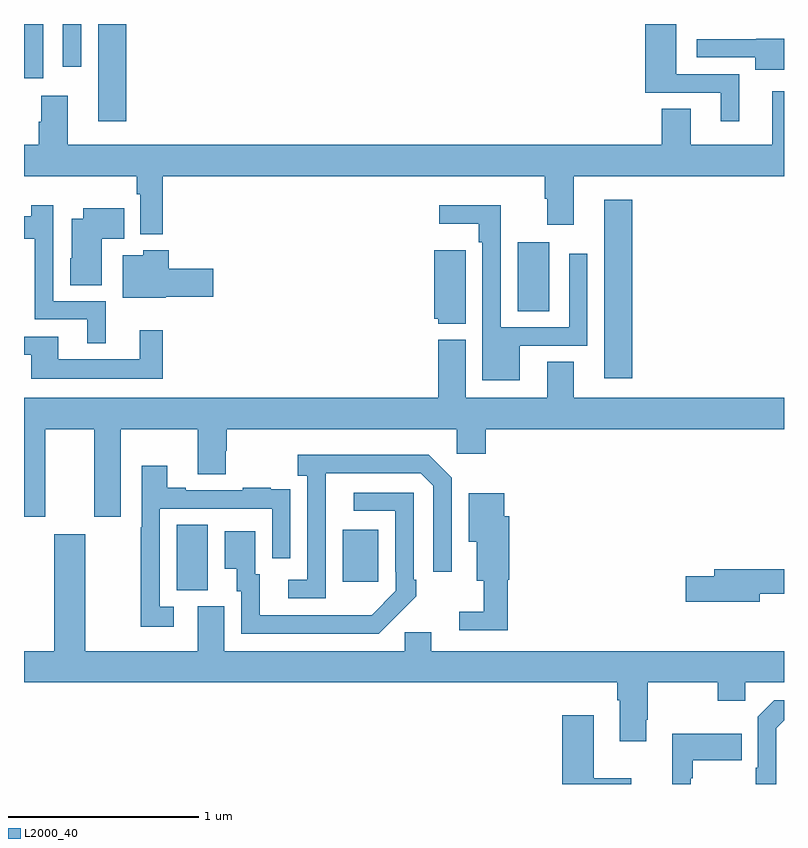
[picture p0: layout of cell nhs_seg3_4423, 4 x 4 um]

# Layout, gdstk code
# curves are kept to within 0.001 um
import gdstk
lib = gdstk.Library(unit=1e-6, precision=1e-09)
def R(c, l, rs):  # rectangles x0, y0, x1, y1
    for r in rs: c.add(gdstk.rectangle(r[:2], r[2:], *l))
def P(c, l, *ps):  # polygons
    for p in ps: c.add(gdstk.Polygon(p, *l))
L2000_40 = (2000, 40)

nhs_seg3_4423 = lib.new_cell('nhs_seg3_4423')
R(nhs_seg3_4423, L2000_40, [(347.804,681.421,347.968,681.764), (348.677,681.465,348.865,681.739), (350.054,682.536,350.201,683.476), (349.598,682.888,349.765,683.251), (347.39,683.889,347.537,684.4), (347,684.114,347.101,684.4), (347.205,684.174,347.301,684.4)])
P(nhs_seg3_4423, L2000_40, [(350.764,684.135),(350.434,684.135),(350.434,684.4),(350.27,684.4),(350.27,684.039),(350.666,684.039),(350.666,683.889),(350.764,683.889)],
  [(351,684.322),(350.853,684.322),(350.853,684.321),(350.541,684.321),(350.541,684.225),(350.849,684.225),(350.849,684.158),(351,684.158)],
  [(347.729,683.6),(349.742,683.6),(349.742,683.48),(349.754,683.48),(349.754,683.343),(349.894,683.343),(349.894,683.6),(351,683.6),(351,684.046),(350.939,684.046),(350.939,683.764),(350.509,683.764),(350.509,683.954),(350.357,683.954),(350.357,683.764),(347.23,683.764),(347.23,684.022),(347.09,684.022),(347.09,683.885),(347.078,683.885),(347.078,683.764),(347,683.764),(347,683.6),(347.593,683.6),(347.593,683.504),(347.613,683.504),(347.613,683.294),(347.729,683.294)],
  [(349.609,682.707),(349.965,682.707),(349.965,683.191),(349.869,683.191),(349.869,682.803),(349.509,682.803),(349.509,683.446),(349.185,683.446),(349.185,683.348),(349.393,683.348),(349.393,683.252),(349.413,683.252),(349.413,682.526),(349.609,682.526)],
  [(347.431,682.941),(347.154,682.941),(347.154,683.446),(347.038,683.446),(347.038,683.387),(347,683.387),(347,683.269),(347.057,683.269),(347.057,682.845),(347.333,682.845),(347.333,682.721),(347.431,682.721)],
  [(347.41,683.27),(347.528,683.27),(347.528,683.431),(347.312,683.431),(347.312,683.374),(347.252,683.374),(347.252,683.166),(347.243,683.166),(347.243,683.026),(347.41,683.026)],
  [(349.324,683.209),(349.16,683.209),(349.16,682.848),(349.179,682.848),(349.179,682.823),(349.324,682.823)],
  [(347.745,682.964),(347.995,682.964),(347.995,683.111),(347.762,683.111),(347.762,683.209),(347.628,683.209),(347.628,683.182),(347.519,683.182),(347.519,682.958),(347.745,682.958)],
  [(347.731,682.789),(347.609,682.789),(347.609,682.636),(347.179,682.636),(347.179,682.755),(347,682.755),(347,682.659),(347.039,682.659),(347.039,682.532),(347.731,682.532)],
  [(347.113,682.268),(347.369,682.268),(347.369,681.807),(347.509,681.807),(347.509,682.268),(347.915,682.268),(347.915,682.03),(348.063,682.03),(348.063,682.155),(348.068,682.155),(348.068,682.268),(349.278,682.268),(349.278,682.137),(349.43,682.137),(349.43,682.268),(351,682.268),(351,682.432),(349.894,682.432),(349.894,682.622),(349.754,682.622),(349.754,682.432),(349.324,682.432),(349.324,682.738),(349.181,682.738),(349.181,682.432),(347,682.432),(347,681.807),(347.113,681.807)],
  [(348.588,681.835),(348.589,682.035),(349.089,682.035),(349.155,681.969),(349.155,681.516),(349.251,681.516),(349.251,682.011),(349.13,682.132),(348.441,682.132),(348.441,682.022),(348.492,682.022),(348.492,681.474),(348.39,681.474),(348.39,681.378),(348.588,681.378)],
  [(347.788,681.333),(347.715,681.333),(347.715,681.849),(348.306,681.849),(348.306,681.588),(348.402,681.588),(348.402,681.842),(348.401,681.842),(348.401,681.951),(348.299,681.951),(348.299,681.958),(348.151,681.958),(348.151,681.945),(347.851,681.945),(347.851,681.958),(347.755,681.958),(347.755,682.075),(347.619,682.075),(347.619,681.752),(347.614,681.752),(347.614,681.228),(347.788,681.228)],
  [(348.959,681.283),(348.96,681.282),(349.065,681.387),(349.065,681.475),(349.05,681.475),(349.05,681.933),(348.735,681.933),(348.735,681.837),(348.954,681.837),(348.954,681.517),(348.957,681.517),(348.957,681.417),(348.829,681.289),(348.241,681.288),(348.241,681.504),(348.217,681.504),(348.217,681.73),(348.056,681.73),(348.056,681.533),(348.119,681.533),(348.119,681.414),(348.144,681.414),(348.144,681.192),(348.868,681.192)],
  [(349.547,681.474),(349.553,681.474),(349.553,681.81),(349.528,681.81),(349.528,681.931),(349.34,681.931),(349.34,681.674),(349.382,681.674),(349.382,681.47),(349.419,681.47),(349.419,681.307),(349.29,681.307),(349.29,681.21),(349.547,681.21)],
  [(350.275,680.737),(350.283,680.737),(350.283,680.936),(350.65,680.936),(350.65,680.837),(350.796,680.837),(350.796,680.936),(351,680.936),(351,681.1),(349.144,681.1),(349.144,681.198),(349.005,681.198),(349.005,681.1),(348.055,681.1),(348.055,681.336),(347.915,681.336),(347.915,681.1),(347.323,681.1),(347.323,681.715),(347.159,681.715),(347.159,681.1),(347,681.1),(347,680.936),(350.123,680.936),(350.123,680.84),(350.135,680.84),(350.135,680.625),(350.275,680.625)],
  [(350.872,681.402),(351,681.402),(351,681.53),(350.633,681.53),(350.633,681.494),(350.484,681.494),(350.484,681.359),(350.872,681.359)],
  [(350.958,680.694),(351,680.736),(351,680.841),(350.949,680.841),(350.862,680.754),(350.862,680.485),(350.85,680.485),(350.85,680.4),(350.958,680.4)],
  [(350.197,680.431),(349.999,680.431),(349.999,680.761),(349.832,680.761),(349.832,680.4),(350.197,680.4)],
  [(350.508,680.429),(350.521,680.429),(350.521,680.525),(350.777,680.525),(350.777,680.665),(350.411,680.665),(350.411,680.4),(350.508,680.4)])

lib.write_gds('nhs_seg3_4423.gds')
